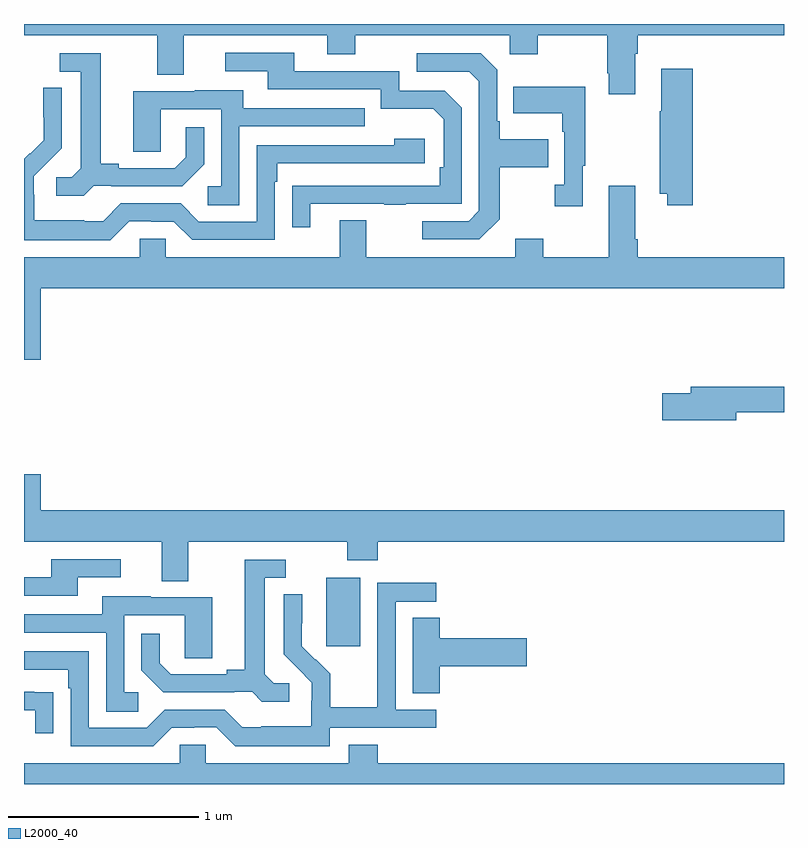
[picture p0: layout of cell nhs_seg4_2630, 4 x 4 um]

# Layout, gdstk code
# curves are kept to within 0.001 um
import gdstk
lib = gdstk.Library(unit=1e-6, precision=1e-09)
def R(c, l, rs):  # rectangles x0, y0, x1, y1
    for r in rs: c.add(gdstk.rectangle(r[:2], r[2:], *l))
def P(c, l, *ps):  # polygons
    for p in ps: c.add(gdstk.Polygon(p, *l))
L2000_40 = (2000, 40)

nhs_seg4_2630 = lib.new_cell('nhs_seg4_2630')
R(nhs_seg4_2630, L2000_40, [(250.592,773.625,250.771,773.986)])
P(nhs_seg4_2630, L2000_40, [(252.217,776.744),(252.23,776.744),(252.23,776.84),(253,776.84),(253,776.9),(249,776.9),(249,776.84),(249.701,776.84),(249.701,776.632),(249.841,776.632),(249.841,776.84),(250.595,776.84),(250.595,776.741),(250.743,776.741),(250.743,776.84),(251.556,776.84),(251.556,776.741),(251.703,776.741),(251.703,776.84),(252.07,776.84),(252.07,776.641),(252.077,776.641),(252.077,776.529),(252.217,776.529)],
  [(250.507,775.953),(250.897,775.953),(250.897,775.948),(251.009,775.948),(251.009,775.953),(251.304,775.953),(251.304,776.46),(251.214,776.55),(250.974,776.55),(250.974,776.652),(250.423,776.652),(250.423,776.748),(250.059,776.748),(250.059,776.652),(250.283,776.652),(250.283,776.556),(250.878,776.556),(250.878,776.453),(251.155,776.453),(251.208,776.4),(251.208,776.146),(251.188,776.146),(251.188,776.049),(250.411,776.048),(250.411,775.83),(250.507,775.83)],
  [(251.503,775.873),(251.503,776.146),(251.759,776.146),(251.759,776.293),(251.503,776.293),(251.503,776.389),(251.49,776.389),(251.49,776.658),(251.403,776.745),(251.067,776.745),(251.067,776.649),(251.343,776.649),(251.394,776.598),(251.394,775.917),(251.34,775.863),(251.097,775.863),(251.097,775.767),(251.397,775.767)],
  [(249.366,776.049),(249.46,776.049),(249.46,776.046),(249.832,776.046),(249.948,776.162),(249.948,776.356),(249.851,776.356),(249.851,776.199),(249.794,776.142),(249.499,776.142),(249.499,776.165),(249.403,776.165),(249.403,776.745),(249.189,776.745),(249.189,776.649),(249.299,776.649),(249.299,776.141),(249.252,776.094),(249.171,776.094),(249.171,775.997),(249.314,775.997)],
  [(252.521,776.665),(252.353,776.665),(252.353,776.441),(252.346,776.441),(252.346,776.006),(252.386,776.006),(252.386,775.947),(252.521,775.947)],
  [(251.941,776.153),(251.953,776.153),(251.953,776.569),(251.575,776.569),(251.575,776.429),(251.832,776.429),(251.832,776.333),(251.844,776.333),(251.844,776.054),(251.793,776.054),(251.793,775.941),(251.941,775.941)],
  [(249.555,775.863),(249.671,775.863),(249.671,775.86),(249.789,775.86),(249.885,775.764),(250.32,775.764),(250.32,776.069),(250.333,776.069),(250.333,776.166),(251.11,776.166),(251.11,776.296),(250.949,776.296),(250.949,776.262),(250.224,776.262),(250.224,775.86),(249.921,775.86),(249.825,775.956),(249.51,775.956),(249.417,775.863),(249.317,775.863),(249.317,775.867),(249.054,775.867),(249.054,776.001),(249.052,776.001),(249.052,776.098),(249.198,776.246),(249.198,776.564),(249.102,776.564),(249.102,776.41),(249.104,776.41),(249.104,776.288),(249.033,776.217),(249.03,776.22),(249,776.19),(249,775.763),(249.455,775.763)],
  [(250.134,776.361),(250.793,776.361),(250.793,776.457),(250.153,776.457),(250.153,776.551),(249.899,776.551),(249.899,776.547),(249.575,776.547),(249.575,776.227),(249.72,776.227),(249.72,776.451),(250.038,776.451),(250.038,776.046),(249.966,776.046),(249.966,775.945),(250.134,775.945)],
  [(253,775.672),(252.23,775.672),(252.23,775.768),(252.217,775.768),(252.217,776.05),(252.077,776.05),(252.077,775.672),(251.733,775.672),(251.733,775.771),(251.585,775.771),(251.585,775.672),(250.801,775.672),(250.801,775.867),(250.661,775.867),(250.661,775.672),(249.747,775.672),(249.747,775.77),(249.609,775.77),(249.609,775.672),(249,775.672),(249,775.134),(249.088,775.134),(249.088,775.508),(253,775.508)],
  [(252.748,774.856),(253,774.856),(253,774.992),(252.509,774.992),(252.509,774.956),(252.36,774.956),(252.36,774.814),(252.748,774.814)],
  [(249.865,774.176),(250.702,774.176),(250.702,774.077),(250.862,774.077),(250.862,774.176),(253,774.176),(253,774.34),(249.088,774.34),(249.088,774.529),(249,774.529),(249,774.176),(249.725,774.176),(249.725,773.968),(249.865,773.968)],
  [(249.283,773.988),(249.508,773.988),(249.508,774.084),(249.143,774.084),(249.143,773.988),(249,773.988),(249,773.892),(249.283,773.892)],
  [(250.396,773.43),(250.314,773.43),(250.267,773.477),(250.267,773.985),(250.378,773.985),(250.378,774.081),(250.163,774.081),(250.163,773.501),(250.067,773.501),(250.067,773.478),(249.772,773.478),(249.715,773.535),(249.715,773.692),(249.618,773.692),(249.618,773.498),(249.734,773.382),(250.106,773.382),(250.106,773.385),(250.2,773.385),(250.252,773.333),(250.396,773.333)],
  [(250.608,773.196),(251.17,773.196),(251.17,773.292),(250.956,773.292),(250.956,773.859),(251.17,773.859),(251.17,773.958),(250.86,773.958),(250.86,773.528),(250.858,773.528),(250.858,773.305),(250.613,773.305),(250.613,773.479),(250.536,773.556),(250.533,773.553),(250.463,773.624),(250.464,773.9),(250.368,773.9),(250.368,773.582),(250.514,773.434),(250.514,773.337),(250.512,773.337),(250.512,773.203),(250.249,773.203),(250.249,773.199),(250.149,773.199),(250.056,773.292),(249.741,773.292),(249.645,773.196),(249.342,773.196),(249.342,773.598),(249,773.598),(249,773.502),(249.233,773.502),(249.233,773.405),(249.246,773.405),(249.246,773.1),(249.681,773.1),(249.777,773.196),(249.896,773.196),(249.896,773.199),(250.011,773.199),(250.111,773.099),(250.608,773.099)],
  [(249.601,773.382),(249.528,773.382),(249.528,773.787),(249.846,773.787),(249.846,773.563),(249.991,773.563),(249.991,773.883),(249.667,773.883),(249.667,773.887),(249.413,773.887),(249.413,773.793),(249,773.793),(249,773.697),(249.432,773.697),(249.432,773.281),(249.601,773.281)],
  [(251.189,773.519),(251.647,773.519),(251.647,773.666),(251.189,773.666),(251.189,773.774),(251.045,773.774),(251.045,773.377),(251.189,773.377)],
  [(249.155,773.384),(249.053,773.384),(249.053,773.385),(249,773.385),(249,773.289),(249.059,773.289),(249.059,773.166),(249.155,773.166)],
  [(253,773.008),(250.862,773.008),(250.862,773.107),(250.709,773.107),(250.709,773.008),(249.957,773.008),(249.957,773.106),(249.819,773.106),(249.819,773.008),(249,773.008),(249,772.9),(253,772.9)])

lib.write_gds('nhs_seg4_2630.gds')
